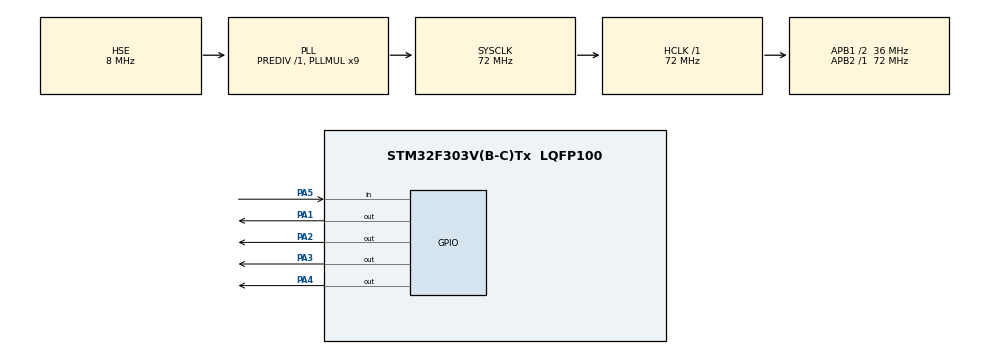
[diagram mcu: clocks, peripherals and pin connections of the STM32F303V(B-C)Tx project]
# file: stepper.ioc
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Mcu.Family=STM32F3
Mcu.Name=STM32F303V(B-C)Tx
Mcu.Package=LQFP100
NVIC.PriorityGroup=NVIC_PRIORITYGROUP_4
PA1.Signal=GPIO_Output
PA13.Mode=Serial_Wire
PA13.Signal=SYS_JTMS-SWDIO
PA14.Mode=Serial_Wire
PA14.Signal=SYS_JTCK-SWCLK
PA2.Signal=GPIO_Output
PA3.Signal=GPIO_Output
PA4.Signal=GPIO_Output
PA5.Signal=GPIO_Input
PF0-OSC_IN.Mode=HSE-External-Oscillator
PF0-OSC_IN.Signal=RCC_OSC_IN
PF1-OSC_OUT.Mode=HSE-External-Oscillator
PF1-OSC_OUT.Signal=RCC_OSC_OUT
ProjectManager.HeapSize=0x200
ProjectManager.StackSize=0x400
ProjectManager.TargetToolchain=STM32CubeIDE
RCC.AHBFreq_Value=72000000
RCC.APB1CLKDivider=RCC_HCLK_DIV2
RCC.APB1Freq_Value=36000000
RCC.APB1TimFreq_Value=72000000
RCC.APB2Freq_Value=72000000
RCC.APB2TimFreq_Value=72000000
RCC.CortexFreq_Value=72000000
RCC.HCLKFreq_Value=72000000
RCC.HSE_VALUE=8000000
RCC.HSI_VALUE=8000000
RCC.LSE_VALUE=32768
RCC.PLLMUL=RCC_PLL_MUL9
RCC.PLLSourceVirtual=RCC_PLLSOURCE_HSE
RCC.SYSCLKFreq_VALUE=72000000
RCC.SYSCLKSourceVirtual=RCC_SYSCLKSOURCE_PLLCLK
RCC.USBFreq_Value=72000000
TIM1.ClockDivision=TIM_CLOCKDIVISION_DIV1
TIM1.Period=0xffff-1
TIM1.Prescaler=72-1
VP_TIM1_VS_ClockSourceINT.Mode=Internal
board=custom

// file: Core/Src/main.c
/* USER CODE BEGIN Header */
/**
  ******************************************************************************
  * @file           : main.c
  * @brief          : Main program body
  ******************************************************************************
  * @attention
  *
  * Copyright (c) 2024 STMicroelectronics.
  * All rights reserved.
  *
  * This software is licensed under terms that can be found in the LICENSE file
  * in the root directory of this software component.
  * If no LICENSE file comes with this software, it is provided AS-IS.
  *
  ******************************************************************************
  */
/* USER CODE END Header */
#include "main.h"

TIM_HandleTypeDef htim1;

void SystemClock_Config(void);
static void MX_GPIO_Init(void);
static void MX_TIM1_Init(void);

/* USER CODE BEGIN 0 */

void delay_us(uint32_t us) {
    uint32_t startTick = DWT->CYCCNT,
             delayTicks = us * (SystemCoreClock / 1000000); // Convert microseconds to ticks
    while (DWT->CYCCNT - startTick < delayTicks); // Wait until the delay is completed
}

void stepperMotorStep(int step) {
    switch(step % 4) {
        case 0:
            HAL_GPIO_WritePin(GPIOA, GPIO_PIN_1, GPIO_PIN_SET);   // IN1
            HAL_GPIO_WritePin(GPIOA, GPIO_PIN_2, GPIO_PIN_RESET); // IN2
            HAL_GPIO_WritePin(GPIOA, GPIO_PIN_3, GPIO_PIN_RESET); // IN3
            HAL_GPIO_WritePin(GPIOA, GPIO_PIN_4, GPIO_PIN_RESET); // IN4
            break;
        case 1:
            HAL_GPIO_WritePin(GPIOA, GPIO_PIN_1, GPIO_PIN_RESET);
            HAL_GPIO_WritePin(GPIOA, GPIO_PIN_2, GPIO_PIN_SET);
            HAL_GPIO_WritePin(GPIOA, GPIO_PIN_3, GPIO_PIN_RESET);
            HAL_GPIO_WritePin(GPIOA, GPIO_PIN_4, GPIO_PIN_RESET);
            break;
        case 2:
            HAL_GPIO_WritePin(GPIOA, GPIO_PIN_1, GPIO_PIN_RESET);
            HAL_GPIO_WritePin(GPIOA, GPIO_PIN_2, GPIO_PIN_RESET);
            HAL_GPIO_WritePin(GPIOA, GPIO_PIN_3, GPIO_PIN_SET);
            HAL_GPIO_WritePin(GPIOA, GPIO_PIN_4, GPIO_PIN_RESET);
            break;
        case 3:
            HAL_GPIO_WritePin(GPIOA, GPIO_PIN_1, GPIO_PIN_RESET);
            HAL_GPIO_WritePin(GPIOA, GPIO_PIN_2, GPIO_PIN_RESET);
            HAL_GPIO_WritePin(GPIOA, GPIO_PIN_3, GPIO_PIN_RESET);
            HAL_GPIO_WritePin(GPIOA, GPIO_PIN_4, GPIO_PIN_SET);
            break;
    }
}

void setupTimerForStepping(void) {
    // Configure the timer
    TIM_HandleTypeDef htim3;
    htim3.Instance = TIM3;
    htim3.Init.Prescaler = 0; // No prescaler
    htim3.Init.CounterMode = TIM_COUNTERMODE_UP;
    htim3.Init.Period = (SystemCoreClock / 20000) - 1; // 20,000 Hz frequency
    htim3.Init.ClockDivision = TIM_CLOCKDIVISION_DIV1;
    htim3.Init.AutoReloadPreload = TIM_AUTORELOAD_PRELOAD_DISABLE;
    if (HAL_TIM_Base_Init(&htim3) != HAL_OK) {
        Error_Handler();
    }

    // Start the timer
    HAL_TIM_Base_Start(&htim3);
}

/* USER CODE END 0 */

int main(void)
{

  /* MCU Configuration--------------------------------------------------------*/

  /* Reset of all peripherals, Initializes the Flash interface and the Systick. */
  HAL_Init();

  /* Configure the system clock */
  SystemClock_Config();

  /* Initialize all configured peripherals */
  MX_GPIO_Init();
  MX_TIM1_Init();

  /* Infinite loop */
  /* USER CODE BEGIN WHILE */
  /* USER CODE BEGIN WHILE */

  /* USER CODE BEGIN WHILE */
  /* USER CODE BEGIN WHILE */

  /* USER CODE BEGIN WHILE */
  int step = 0;
     uint8_t buttonPressed = 0;
     uint8_t lastButtonState = GPIO_PIN_SET;
     uint32_t lastDebounceTime = 0;
     uint32_t debounceDelay = 20; // milliseconds, reduced for better response

     while (1) {
         uint8_t currentButtonState = HAL_GPIO_ReadPin(GPIOA, GPIO_PIN_5);

         // Debounce the button
         if (currentButtonState != lastButtonState) {
             lastDebounceTime = HAL_GetTick(); // reset debounce timer
         }
         if ((HAL_GetTick() - lastDebounceTime) > debounceDelay) {
             // Check if the button state has changed after the debounce delay
             if (currentButtonState != buttonPressed) {
                 buttonPressed = currentButtonState;

                 // Button press logic
                 if (buttonPressed == GPIO_PIN_RESET) { // Button is pressed
                     // Rotate 90 degrees clockwise
                     for (step = 0; step < 50; step++) {
                         stepperMotorStep(step % 4);
                         HAL_Delay(0.2);  // Reduced delay to 0.2 milliseconds between steps
                     }

                     // Hold position if button is still pressed
                     uint32_t holdTime = HAL_GetTick();
                     while (HAL_GPIO_ReadPin(GPIOA, GPIO_PIN_5) == GPIO_PIN_RESET) {
                         if (HAL_GetTick() - holdTime > 100) {  // Hold for at least 100 ms
                             HAL_Delay(0.2);  // Delay while holding, to check button status
                         }
                     }
                     // Rotate 90 degrees anticlockwise once released
                     for (step = 50; step > 0; step--) {
                         stepperMotorStep(step % 4);
                         HAL_Delay(0.2);  // Delay of 0.2 milliseconds between steps
                     }
                 }
             }
         }
         lastButtonState = currentButtonState; // Update the last button state
         HAL_Delay(0.1);  // Small delay to avoid high CPU usage
     }
 }
    /* USER CODE END WHILE */

void SystemClock_Config(void)
{
  RCC_OscInitTypeDef RCC_OscInitStruct = {0};
  RCC_ClkInitTypeDef RCC_ClkInitStruct = {0};
  RCC_PeriphCLKInitTypeDef PeriphClkInit = {0};

  /** Initializes the RCC Oscillators according to the specified parameters
  * in the RCC_OscInitTypeDef structure.
  */
  RCC_OscInitStruct.OscillatorType = RCC_OSCILLATORTYPE_HSE;
  RCC_OscInitStruct.HSEState = RCC_HSE_ON;
  RCC_OscInitStruct.HSEPredivValue = RCC_HSE_PREDIV_DIV1;
  RCC_OscInitStruct.HSIState = RCC_HSI_ON;
  RCC_OscInitStruct.PLL.PLLState = RCC_PLL_ON;
  RCC_OscInitStruct.PLL.PLLSource = RCC_PLLSOURCE_HSE;
  RCC_OscInitStruct.PLL.PLLMUL = RCC_PLL_MUL9;
  if (HAL_RCC_OscConfig(&RCC_OscInitStruct) != HAL_OK)
  {
    Error_Handler();
  }

  /** Initializes the CPU, AHB and APB buses clocks
  */
  RCC_ClkInitStruct.ClockType = RCC_CLOCKTYPE_HCLK|RCC_CLOCKTYPE_SYSCLK
                              |RCC_CLOCKTYPE_PCLK1|RCC_CLOCKTYPE_PCLK2;
  RCC_ClkInitStruct.SYSCLKSource = RCC_SYSCLKSOURCE_PLLCLK;
  RCC_ClkInitStruct.AHBCLKDivider = RCC_SYSCLK_DIV1;
  RCC_ClkInitStruct.APB1CLKDivider = RCC_HCLK_DIV2;
  RCC_ClkInitStruct.APB2CLKDivider = RCC_HCLK_DIV1;

  if (HAL_RCC_ClockConfig(&RCC_ClkInitStruct, FLASH_LATENCY_2) != HAL_OK)
  {
    Error_Handler();
  }
  PeriphClkInit.PeriphClockSelection = RCC_PERIPHCLK_TIM1;
  PeriphClkInit.Tim1ClockSelection = RCC_TIM1CLK_HCLK;
  if (HAL_RCCEx_PeriphCLKConfig(&PeriphClkInit) != HAL_OK)
  {
    Error_Handler();
  }
}

static void MX_TIM1_Init(void)
{

  TIM_ClockConfigTypeDef sClockSourceConfig = {0};
  TIM_MasterConfigTypeDef sMasterConfig = {0};

  htim1.Instance = TIM1;
  htim1.Init.Prescaler = 72-1;
  htim1.Init.CounterMode = TIM_COUNTERMODE_UP;
  htim1.Init.Period = 0xffff-1;
  htim1.Init.ClockDivision = TIM_CLOCKDIVISION_DIV1;
  htim1.Init.RepetitionCounter = 0;
  htim1.Init.AutoReloadPreload = TIM_AUTORELOAD_PRELOAD_DISABLE;
  if (HAL_TIM_Base_Init(&htim1) != HAL_OK)
  {
    Error_Handler();
  }
  sClockSourceConfig.ClockSource = TIM_CLOCKSOURCE_INTERNAL;
  if (HAL_TIM_ConfigClockSource(&htim1, &sClockSourceConfig) != HAL_OK)
  {
    Error_Handler();
  }
  sMasterConfig.MasterOutputTrigger = TIM_TRGO_RESET;
  sMasterConfig.MasterOutputTrigger2 = TIM_TRGO2_RESET;
  sMasterConfig.MasterSlaveMode = TIM_MASTERSLAVEMODE_DISABLE;
  if (HAL_TIMEx_MasterConfigSynchronization(&htim1, &sMasterConfig) != HAL_OK)
  {
    Error_Handler();
  }

}

static void MX_GPIO_Init(void)
{
  GPIO_InitTypeDef GPIO_InitStruct = {0};

  /* GPIO Ports Clock Enable */
  __HAL_RCC_GPIOF_CLK_ENABLE();
  __HAL_RCC_GPIOA_CLK_ENABLE();

  /*Configure GPIO pin Output Level */
  HAL_GPIO_WritePin(GPIOA, GPIO_PIN_1|GPIO_PIN_2|GPIO_PIN_3|GPIO_PIN_4, GPIO_PIN_RESET);

  /*Configure GPIO pins : PA1 PA2 PA3 PA4 */
  GPIO_InitStruct.Pin = GPIO_PIN_1|GPIO_PIN_2|GPIO_PIN_3|GPIO_PIN_4;
  GPIO_InitStruct.Mode = GPIO_MODE_OUTPUT_PP;
  GPIO_InitStruct.Pull = GPIO_NOPULL;
  GPIO_InitStruct.Speed = GPIO_SPEED_FREQ_LOW;
  HAL_GPIO_Init(GPIOA, &GPIO_InitStruct);

  /*Configure GPIO pin : PA5 */
  GPIO_InitStruct.Pin = GPIO_PIN_5;
  GPIO_InitStruct.Mode = GPIO_MODE_INPUT;
  GPIO_InitStruct.Pull = GPIO_NOPULL;
  HAL_GPIO_Init(GPIOA, &GPIO_InitStruct);

}

void Error_Handler(void)
{
  __disable_irq();
  while (1)
  {
  }
}
